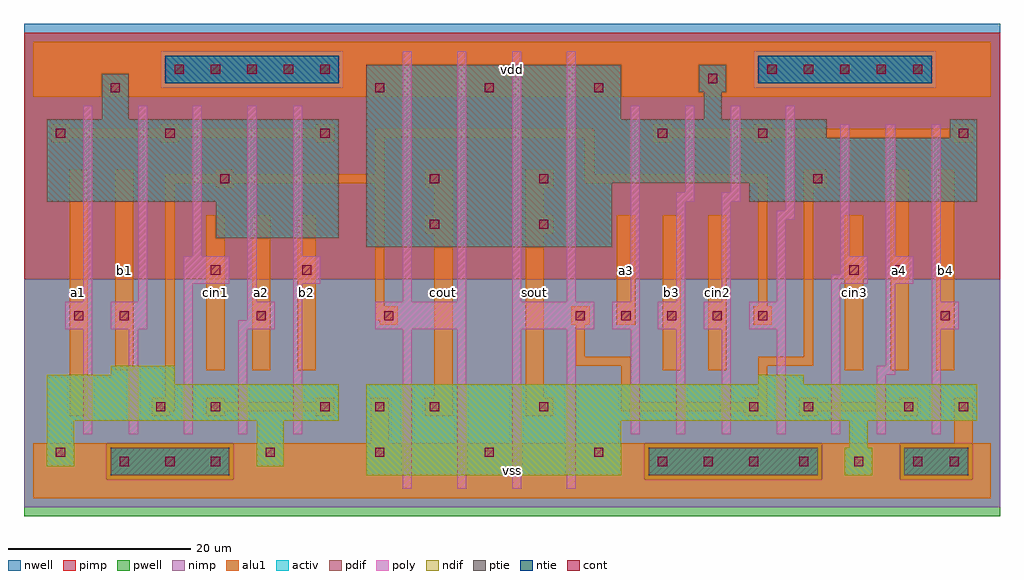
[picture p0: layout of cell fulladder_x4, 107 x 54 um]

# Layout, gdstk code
import gdstk
lib = gdstk.Library(unit=1e-6, precision=1e-09)
def R(c, l, rs):  # rectangles x0, y0, x1, y1
    for r in rs: c.add(gdstk.rectangle(r[:2], r[2:], *l))
def A(c, l, x, y, w, h, nx, ny, dx, dy):  # array of equal rectangles
    R(c, l, [(x+i*dx, y+j*dy, x+i*dx+w, y+j*dy+h) for i in range(nx) for j in range(ny)])
ndif = (3, 0)
pdif = (4, 0)
ntie = (5, 0)
ptie = (6, 0)
cont = (25, 0)
pwell = (41, 0)
nwell = (42, 0)
activ = (43, 0)
pimp = (44, 0)
nimp = (45, 0)
poly = (46, 0)
alu1 = (49, 0)

fulladder_x4 = lib.new_cell('fulladder_x4')
R(fulladder_x4, ndif, [(36.5,2.5,64.5,8.5), (89,2.5,92,5.5), (1.5,3.5,4.5,8.5), (24.5,3.5,27.5,8.5), (89.5,5.5,91.5,8.5), (1.5,8.5,33.5,12.5), (36.5,8.5,103.5,12.5), (1.5,12.5,15.5,13.5), (79.5,12.5,84.5,13.5), (8.5,13.5,15.5,14.5)])
R(fulladder_x4, pdif, [(36.5,27.5,63.5,34.5), (20,28.5,33.5,32.5), (1.5,32.5,33.5,41.5), (78.5,32.5,103.5,34.5), (36.5,34.5,103.5,39.5), (36.5,39.5,87,41.5), (100.5,39.5,103.5,41.5), (7.5,41.5,10.5,46.5), (36.5,41.5,64.5,47.5), (73.5,41.5,75.5,44.5), (73,44.5,76,47.5)])
R(fulladder_x4, ntie, [(14.5,45.5,33.5,48.5), (79.5,45.5,98.5,48.5)])
R(fulladder_x4, ptie, [(8.5,2.5,21.5,5.5), (67.5,2.5,86,5.5), (95.5,2.5,102.5,5.5)])
A(fulladder_x4, cont, 9.5, 3.5, 1, 1, 3, 1, 5, 0)
A(fulladder_x4, cont, 68.5, 3.5, 1, 1, 3, 1, 5, 0)
A(fulladder_x4, cont, 25.5, 4.5, 1, 1, 4, 1, 12, 0)
A(fulladder_x4, cont, 31.5, 9.5, 1, 1, 3, 1, 6, 0)
A(fulladder_x4, cont, 59.5, 19.5, 1, 1, 5, 1, 5, 0)
A(fulladder_x4, cont, 37.5, 44.5, 1, 1, 3, 1, 12, 0)
A(fulladder_x4, cont, 15.5, 46.5, 1, 1, 5, 1, 4, 0)
A(fulladder_x4, cont, 80.5, 46.5, 1, 1, 5, 1, 4, 0)
R(fulladder_x4, cont, [(84,3.5,85,4.5), (90,3.5,91,4.5), (96.5,3.5,97.5,4.5), (100.5,3.5,101.5,4.5), (2.5,4.5,3.5,5.5), (13.5,9.5,14.5,10.5), (19.5,9.5,20.5,10.5), (55.5,9.5,56.5,10.5), (78.5,9.5,79.5,10.5), (84.5,9.5,85.5,10.5), (95.5,9.5,96.5,10.5), (101.5,9.5,102.5,10.5), (4.5,19.5,5.5,20.5), (9.5,19.5,10.5,20.5), (24.5,19.5,25.5,20.5), (38.5,19.5,39.5,20.5), (99.5,19.5,100.5,20.5), (19.5,24.5,20.5,25.5), (29.5,24.5,30.5,25.5), (89.5,24.5,90.5,25.5), (94.5,24.5,95.5,25.5), (43.5,29.5,44.5,30.5), (55.5,29.5,56.5,30.5), (20.5,34.5,21.5,35.5), (43.5,34.5,44.5,35.5), (55.5,34.5,56.5,35.5), (85.5,34.5,86.5,35.5), (2.5,39.5,3.5,40.5), (14.5,39.5,15.5,40.5), (31.5,39.5,32.5,40.5), (68.5,39.5,69.5,40.5), (79.5,39.5,80.5,40.5), (101.5,39.5,102.5,40.5), (8.5,44.5,9.5,45.5), (74,45.5,75,46.5)])
R(fulladder_x4, pwell, [(-1,-2,106,24)])
R(fulladder_x4, nwell, [(-1,24,106,52)])
R(fulladder_x4, activ, [(8.5,2.5,21.5,5.5), (36.5,2.5,64.5,8.5), (67.5,2.5,86,5.5), (89,2.5,92,5.5), (95.5,2.5,102.5,5.5), (1.5,3.5,4.5,8.5), (24.5,3.5,27.5,8.5), (89.5,5.5,91.5,8.5), (1.5,8.5,33.5,12.5), (36.5,8.5,103.5,12.5), (1.5,12.5,15.5,13.5), (79.5,12.5,84.5,13.5), (8.5,13.5,15.5,14.5), (36.5,27.5,63.5,34.5), (20,28.5,33.5,32.5), (1.5,32.5,33.5,41.5), (78.5,32.5,103.5,34.5), (36.5,34.5,103.5,39.5), (36.5,39.5,87,41.5), (100.5,39.5,103.5,41.5), (7.5,41.5,10.5,46.5), (36.5,41.5,64.5,47.5), (73.5,41.5,75.5,44.5), (73,44.5,76,47.5), (14.5,45.5,33.5,48.5), (79.5,45.5,98.5,48.5)])
R(fulladder_x4, pimp, [(8,2,22,6), (67,2,86.5,6), (95,2,103,6), (-1,24,106,45), (-1,45,14,49), (34,45,79,49), (99,45,106,49), (-1,49,106,51)])
R(fulladder_x4, nimp, [(-1,-1,106,2), (-1,2,8,6), (22,2,67,6), (86.5,2,95,6), (103,2,106,6), (-1,6,106,24), (14,45,34,49), (79,45,99,49)])
A(fulladder_x4, poly, 40.5, 1, 1, 17.5, 4, 1, 6, 0)
A(fulladder_x4, poly, 65.5, 7, 1, 11.5, 3, 1, 5, 0)
A(fulladder_x4, poly, 63.5, 18.5, 3, 3, 3, 1, 5, 0)
A(fulladder_x4, poly, 40.5, 21.5, 1, 27.5, 4, 1, 6, 0)
R(fulladder_x4, poly, [(5.5,7,6.5,18.5), (10.5,7,11.5,18.5), (16.5,7,17.5,23.5), (22.5,7,23.5,18.5), (28.5,7,29.5,23.5), (81.5,7,82.5,18.5), (87.5,7,88.5,23.5), (92.5,7,93.5,13.5), (98.5,7,99.5,18.5), (92.5,13.5,94.5,14.5), (93.5,14.5,94.5,23.5), (3.5,18.5,6.5,21.5), (8.5,18.5,12.5,21.5), (22.5,18.5,26.5,19.5), (37.5,18.5,47.5,21.5), (52.5,18.5,61.5,21.5), (78.5,18.5,82.5,21.5), (98.5,18.5,101.5,21.5), (23.5,19.5,26.5,21.5), (5.5,21.5,6.5,43), (11.5,21.5,12.5,43), (23.5,21.5,24.5,43), (65.5,21.5,66.5,43), (70.5,21.5,71.5,32.5), (75.5,21.5,76.5,32.5), (81.5,21.5,82.5,30.5), (98.5,21.5,99.5,41), (16.5,23.5,21.5,26.5), (28.5,23.5,31.5,26.5), (87.5,23.5,91.5,24.5), (93.5,23.5,96.5,26.5), (88.5,24.5,91.5,26.5), (17.5,26.5,18.5,43), (28.5,26.5,29.5,43), (88.5,26.5,89.5,41), (93.5,26.5,94.5,41), (81.5,30.5,83.5,31.5), (82.5,31.5,83.5,43), (70.5,32.5,72.5,33.5), (75.5,32.5,77.5,33.5), (71.5,33.5,72.5,43), (76.5,33.5,77.5,43)])
A(fulladder_x4, alu1, 19, 14, 2, 17, 3, 1, 5, 0)
R(fulladder_x4, alu1, [(0,0,105,6), (37,6,39,11), (101,6,103,11), (4,9,6,36), (13,9,15,9.5), (19,9,21,9.5), (31,9,33,9.5), (43,9,46,11), (54,9,57,11), (78,9,80.5,9.5), (84,9,86,9.5), (95,9,97,9.5), (13,9.5,15.5,11), (19,9.5,33,10.5), (64.5,9.5,80.5,10.5), (84,9.5,97,10.5), (19,10.5,21,11), (31,10.5,33,11), (64.5,10.5,65.5,14.5), (78,10.5,80.5,11), (84,10.5,86,11), (95,10.5,97,11), (14.5,11,15.5,34.5), (44,11,46,29), (54,11,56,29), (79.5,11,80.5,14.5), (9,14,11,36), (69,14,71,31), (74,14,76,31), (89,14,91,31), (94,14,96,36), (99,14,101,36), (59.5,14.5,65.5,15.5), (79.5,14.5,85.5,15.5), (59.5,15.5,60.5,19), (84.5,15.5,85.5,34), (38,19,40,19.5), (59,19,61,21), (64,19,66,31), (79,19,81,21), (37.5,19.5,40,21), (37.5,21,38.5,34.5), (79.5,21,80.5,34.5), (43,29,46,31), (54,29,57,31), (44,31,46,34), (54,31,56,34), (20,34,22,34.5), (43,34,46,36), (54,34,57,36), (84.5,34,87,36), (14.5,34.5,38.5,35.5), (60.5,34.5,80.5,35.5), (20,35.5,22,36), (37.5,35.5,38.5,39.5), (60.5,35.5,61.5,39.5), (2,39,4,39.5), (14,39,16,39.5), (31,39,33,39.5), (68,39,70,39.5), (79,39,81,39.5), (101,39,103,39.5), (2,39.5,33,40.5), (37.5,39.5,61.5,40.5), (68,39.5,103,40.5), (2,40.5,4,41), (14,40.5,16,41), (31,40.5,33,41), (68,40.5,70,41), (79,40.5,81,41), (101,40.5,103,41), (0,44,105,50)])
fulladder_x4.add(gdstk.Label('a1', (5,22.5), layer=49, texttype=0))
fulladder_x4.add(gdstk.Label('b1', (10,25), layer=49, texttype=0))
fulladder_x4.add(gdstk.Label('b2', (30,22.5), layer=49, texttype=0))
fulladder_x4.add(gdstk.Label('a2', (25,22.5), layer=49, texttype=0))
fulladder_x4.add(gdstk.Label('cin1', (20,22.5), layer=49, texttype=0))
fulladder_x4.add(gdstk.Label('vss', (52.5,3), layer=49, texttype=0))
fulladder_x4.add(gdstk.Label('sout', (55,22.5), layer=49, texttype=0))
fulladder_x4.add(gdstk.Label('cout', (45,22.5), layer=49, texttype=0))
fulladder_x4.add(gdstk.Label('vdd', (52.5,47), layer=49, texttype=0))
fulladder_x4.add(gdstk.Label('cin2', (75,22.5), layer=49, texttype=0))
fulladder_x4.add(gdstk.Label('b3', (70,22.5), layer=49, texttype=0))
fulladder_x4.add(gdstk.Label('a3', (65,25), layer=49, texttype=0))
fulladder_x4.add(gdstk.Label('cin3', (90,22.5), layer=49, texttype=0))
fulladder_x4.add(gdstk.Label('b4', (100,25), layer=49, texttype=0))
fulladder_x4.add(gdstk.Label('a4', (95,25), layer=49, texttype=0))

lib.write_gds('fulladder_x4.gds')
